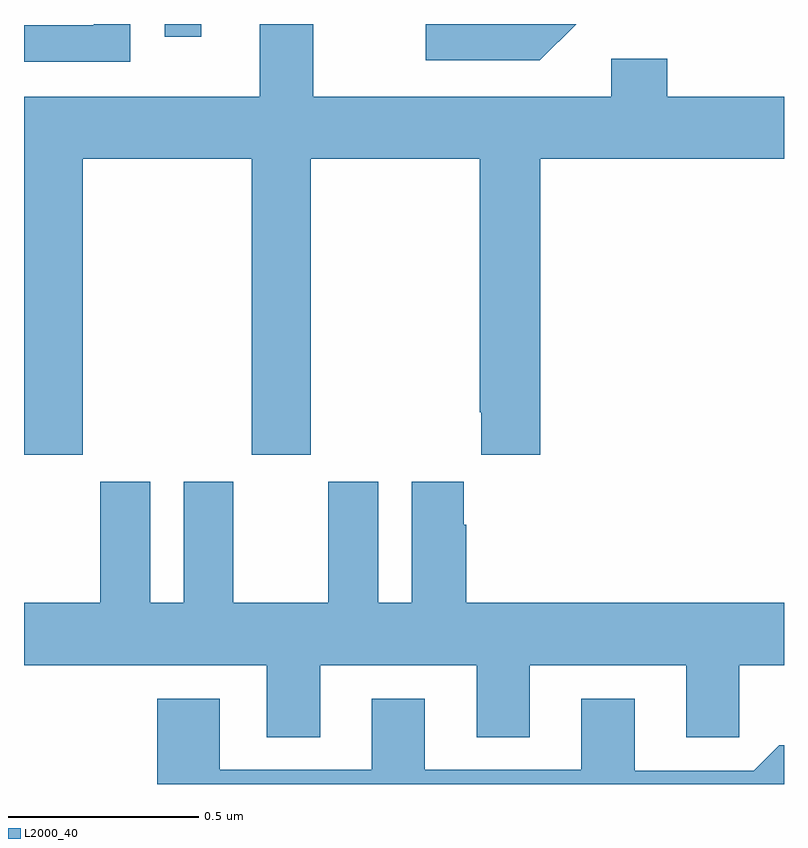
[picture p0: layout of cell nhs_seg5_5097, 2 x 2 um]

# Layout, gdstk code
import gdstk
lib = gdstk.Library(unit=1e-6, precision=1e-09)
def R(c, l, rs):  # rectangles x0, y0, x1, y1
    for r in rs: c.add(gdstk.rectangle(r[:2], r[2:], *l))
def P(c, l, *ps):  # polygons
    for p in ps: c.add(gdstk.Polygon(p, *l))
L2000_40 = (2000, 40)

nhs_seg5_5097 = lib.new_cell('nhs_seg5_5097')
R(nhs_seg5_5097, L2000_40, [(179.371,839.766,179.467,839.799)])
P(nhs_seg5_5097, L2000_40, [(179.154,839.444),(179.599,839.444),(179.599,838.665),(179.754,838.665),(179.754,839.444),(180.199,839.444),(180.199,838.777),(180.203,838.777),(180.203,838.665),(180.359,838.665),(180.359,839.444),(181,839.444),(181,839.608),(180.693,839.608),(180.693,839.707),(180.545,839.707),(180.545,839.608),(179.761,839.608),(179.761,839.799),(179.621,839.799),(179.621,839.608),(179,839.608),(179,838.665),(179.154,838.665)],
  [(180.453,839.799),(180.057,839.799),(180.057,839.703),(180.357,839.703)],
  [(179.28,839.799),(179.184,839.799),(179.184,839.796),(179,839.796),(179,839.7),(179.28,839.7)],
  [(179.779,838.112),(180.191,838.112),(180.191,837.922),(180.331,837.922),(180.331,838.112),(180.743,838.112),(180.743,837.922),(180.882,837.922),(180.882,838.112),(181,838.112),(181,838.276),(180.164,838.276),(180.164,838.481),(180.157,838.481),(180.157,838.594),(180.02,838.594),(180.02,838.276),(179.932,838.276),(179.932,838.594),(179.801,838.594),(179.801,838.276),(179.551,838.276),(179.551,838.594),(179.42,838.594),(179.42,838.276),(179.332,838.276),(179.332,838.594),(179.201,838.594),(179.201,838.276),(179,838.276),(179,838.112),(179.639,838.112),(179.639,837.922),(179.779,837.922)],
  [(181,837.901),(180.988,837.901),(180.921,837.834),(180.607,837.834),(180.607,838.024),(180.467,838.024),(180.467,837.837),(180.055,837.837),(180.055,838.024),(179.915,838.024),(179.915,837.837),(179.515,837.837),(179.515,838.024),(179.351,838.024),(179.351,837.799),(181,837.799)])

lib.write_gds('nhs_seg5_5097.gds')
